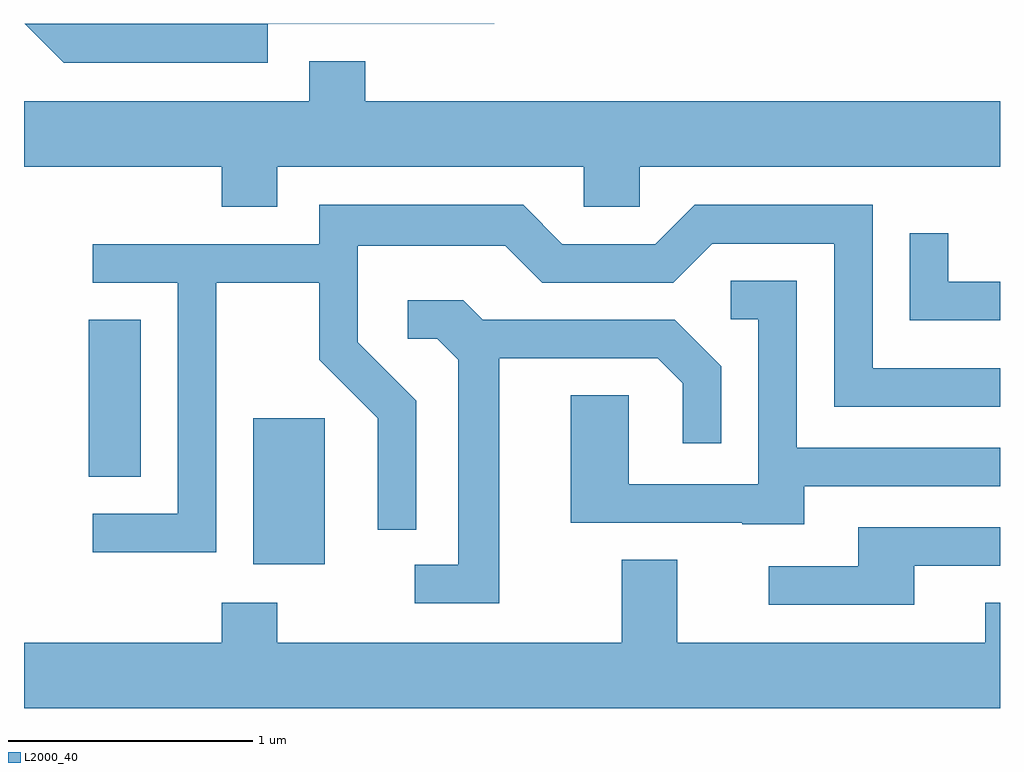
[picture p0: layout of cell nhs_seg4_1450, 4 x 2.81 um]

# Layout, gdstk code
import gdstk
lib = gdstk.Library(unit=1e-6, precision=1e-09)
def R(c, l, rs):  # rectangles x0, y0, x1, y1
    for r in rs: c.add(gdstk.rectangle(r[:2], r[2:], *l))
def P(c, l, *ps):  # polygons
    for p in ps: c.add(gdstk.Polygon(p, *l))
L2000_40 = (2000, 40)

nhs_seg4_1450 = lib.new_cell('nhs_seg4_1450')
R(nhs_seg4_1450, L2000_40, [(228.551,1299.766,228.844,1300.364), (227.876,1300.126,228.089,1300.769)])
P(nhs_seg4_1450, L2000_40, [(228.609,1301.981),(229.538,1301.981),(229.538,1301.982),(227.611,1301.982),(227.611,1301.981),(227.614,1301.981),(227.774,1301.821),(228.609,1301.821)],
  [(228.649,1301.396),(229.906,1301.396),(229.906,1301.231),(230.134,1301.231),(230.134,1301.396),(231.611,1301.396),(231.611,1301.664),(229.009,1301.664),(229.009,1301.829),(228.781,1301.829),(228.781,1301.664),(227.611,1301.664),(227.611,1301.396),(228.421,1301.396),(228.421,1301.231),(228.649,1301.231)],
  [(228.399,1300.921),(228.821,1300.921),(228.821,1300.604),(229.061,1300.364),(229.061,1299.908),(229.219,1299.908),(229.219,1300.437),(228.979,1300.677),(228.979,1301.071),(229.584,1301.071),(229.734,1300.921),(230.272,1300.921),(230.432,1301.081),(230.931,1301.081),(230.931,1300.411),(231.611,1300.411),(231.611,1300.569),(231.089,1300.569),(231.089,1301.239),(230.359,1301.239),(230.199,1301.079),(229.817,1301.079),(229.657,1301.239),(228.821,1301.239),(228.821,1301.079),(227.893,1301.079),(227.893,1300.921),(228.241,1300.921),(228.241,1299.974),(227.893,1299.974),(227.893,1299.816),(228.399,1299.816)],
  [(231.611,1300.924),(231.399,1300.924),(231.399,1301.123),(231.241,1301.123),(231.241,1300.766),(231.611,1300.766)],
  [(230.809,1300.086),(231.611,1300.086),(231.611,1300.244),(230.779,1300.244),(230.779,1300.929),(230.508,1300.929),(230.508,1300.771),(230.621,1300.771),(230.621,1300.094),(230.089,1300.094),(230.089,1300.459),(229.851,1300.459),(229.851,1299.936),(230.555,1299.936),(230.555,1299.931),(230.809,1299.931)],
  [(229.559,1300.611),(230.209,1300.611),(230.311,1300.509),(230.311,1300.263),(230.469,1300.263),(230.469,1300.577),(230.277,1300.769),(229.492,1300.769),(229.412,1300.849),(229.183,1300.849),(229.183,1300.691),(229.304,1300.691),(229.391,1300.604),(229.391,1299.764),(229.213,1299.764),(229.213,1299.606),(229.559,1299.606)],
  [(231.259,1299.761),(231.611,1299.761),(231.611,1299.919),(231.031,1299.919),(231.031,1299.759),(230.663,1299.759),(230.663,1299.601),(231.259,1299.601)],
  [(231.611,1299.609),(231.551,1299.609),(231.551,1299.444),(230.289,1299.444),(230.289,1299.784),(230.061,1299.784),(230.061,1299.444),(228.649,1299.444),(228.649,1299.609),(228.421,1299.609),(228.421,1299.444),(227.611,1299.444),(227.611,1299.176),(231.611,1299.176)])

lib.write_gds('nhs_seg4_1450.gds')
